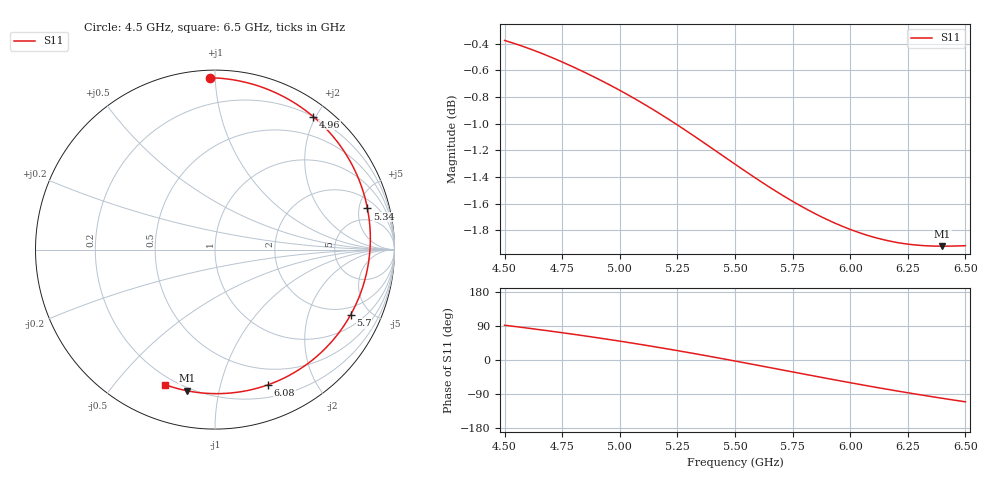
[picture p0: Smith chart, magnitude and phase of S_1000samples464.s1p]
! TOUCHSTONE file generated by CST MICROWAVE STUDIO
! Date and time: Fri Oct 28 06:19:35 2022
! Project name: L.cst
! Parameters = {Di=1.27; Epsilon_r=1.56; InnerDiameter=1.27; Length=2; Lf=10; Lg=60; OuterConductorThickness=0.2921; OuterDiameter=3.6; Wf=3; Wp=41.2; de=1.5; df=6.8; g=0.8; gx=4.05842; gy=3.04678; h=2.34; hf=1.524; px=10.8237; py=8.25308; w=9.7; wx=6.76529; wy=5.2063}
! Header version: 2018
! Port assignment regex: !\s*Touchstone port\s*([0-9]+)\s*=\s*(CST MWS port|CST DS port)\s*([0-9]+|Zmin|Zmax)\s*\(\"(.*)\"\)(\s*mode\s*([0-9]+))?.*
! Touchstone port assignment:
! Touchstone port 1 = CST MWS port 1 ("")
# GHz S DB R 50
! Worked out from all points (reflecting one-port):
!   101 points, 4.5 GHz to 6.5 GHz, reference 50 ohm
!   lowest |S11| = -1.9 dB at 6.4 GHz (marker M1), VSWR 9.09, Z = 9.15 - j40.3 ohm
!   phase of S11 starts at 92 deg and turns -202 deg over the sweep
!   S11 on the Smith chart (normalised r, x): 4.5 GHz: 0.04, +0.97; 4.96 GHz: 0.20, +1.97; 5.34 GHz: 3.01, +6.09; 5.7 GHz: 1.55, -3.79; 6.08 GHz: 0.32, -1.41; 6.5 GHz: 0.16, -0.68
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4.5  -0.38 91.7
4.58  -0.42 85.7
4.64  -0.46 81.0
4.76  -0.54 71.1
4.86  -0.62 62.5
4.96  -0.71 53.5
5  -0.75 49.7
5.06  -0.81 44.0
5.14  -0.89 36.1
5.2  -0.95 30.0
5.26  -1.02 23.7
5.34  -1.11 15.1
5.42  -1.21 6.3
5.5  -1.30 -2.7
5.54  -1.35 -7.2
5.6  -1.42 -14.1
5.7  -1.53 -25.7
5.76  -1.59 -32.6
5.82  -1.65 -39.5
5.88  -1.70 -46.4
5.94  -1.75 -53.2
6  -1.79 -59.9
6.08  -1.84 -68.6
6.16  -1.88 -77.2
6.26  -1.91 -87.4
6.32  -1.91 -93.4
6.4  -1.92 -101.1
6.5  -1.92 -110.3
